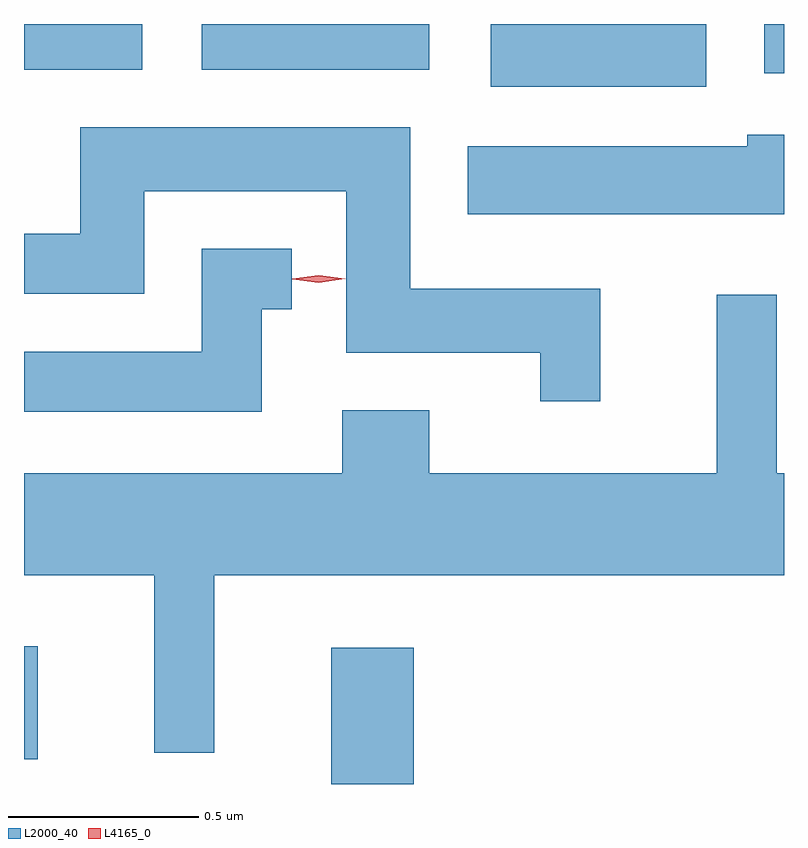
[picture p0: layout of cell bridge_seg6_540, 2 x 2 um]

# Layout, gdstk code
import gdstk
lib = gdstk.Library(unit=1e-6, precision=1e-09)
def R(c, l, rs):  # rectangles x0, y0, x1, y1
    for r in rs: c.add(gdstk.rectangle(r[:2], r[2:], *l))
def P(c, l, *ps):  # polygons
    for p in ps: c.add(gdstk.Polygon(p, *l))
L2000_40 = (2000, 40)
L4165_0 = (4165, 0)

bridge_seg6_540 = lib.new_cell('bridge_seg6_540')
R(bridge_seg6_540, L2000_40, [(881.281,1589.446,881.499,1589.804), (880.473,1589.511,880.509,1589.808), (881.701,1591.281,882.269,1591.446), (882.421,1591.316,882.473,1591.446), (880.473,1591.326,880.784,1591.446), (880.941,1591.326,881.539,1591.446)])
P(bridge_seg6_540, L2000_40, [(881.989,1590.749),(881.489,1590.749),(881.489,1591.174),(880.621,1591.174),(880.621,1590.894),(880.473,1590.894),(880.473,1590.736),(880.789,1590.736),(880.789,1591.006),(881.321,1591.006),(881.321,1590.581),(881.831,1590.581),(881.831,1590.453),(881.989,1590.453)],
  [(882.473,1591.154),(882.376,1591.154),(882.376,1591.124),(881.641,1591.124),(881.641,1590.946),(882.473,1590.946)],
  [(881.099,1590.696),(881.178,1590.696),(881.178,1590.854),(880.941,1590.854),(880.941,1590.584),(880.473,1590.584),(880.473,1590.426),(881.099,1590.426)],
  [(880.974,1589.996),(882.473,1589.996),(882.473,1590.264),(882.454,1590.264),(882.454,1590.733),(882.296,1590.733),(882.296,1590.264),(881.539,1590.264),(881.539,1590.429),(881.311,1590.429),(881.311,1590.264),(880.473,1590.264),(880.473,1589.996),(880.816,1589.996),(880.816,1589.528),(880.974,1589.528)])
P(bridge_seg6_540, L4165_0, [(881.248,1590.765),(881.179,1590.774),(881.179,1590.775),(881.179,1590.775),(881.248,1590.785),(881.318,1590.776),(881.318,1590.776),(881.318,1590.775)])

lib.write_gds('bridge_seg6_540.gds')
